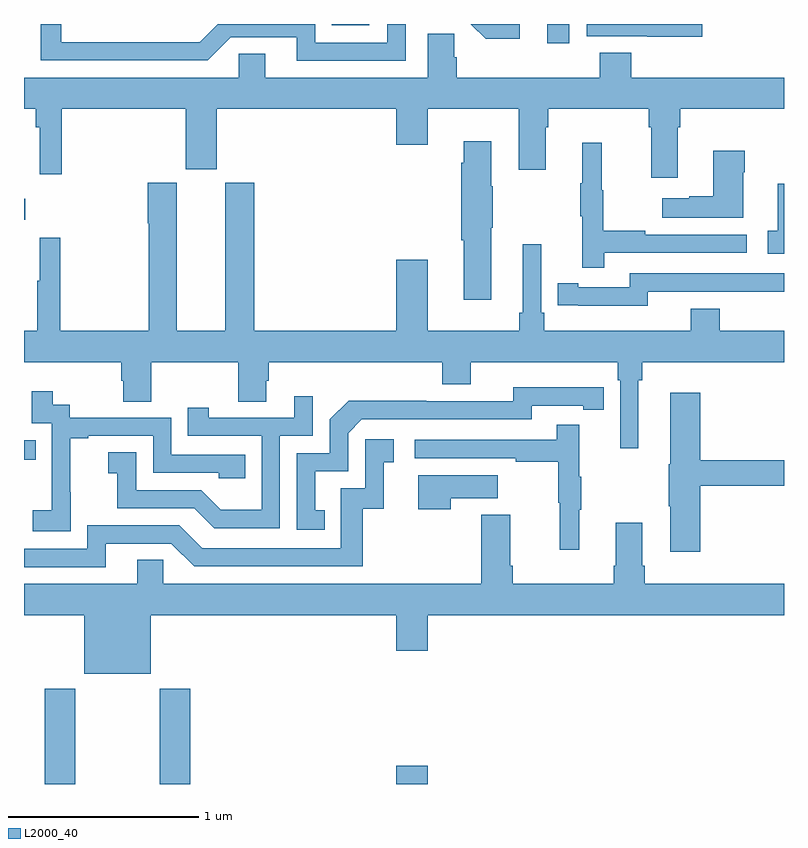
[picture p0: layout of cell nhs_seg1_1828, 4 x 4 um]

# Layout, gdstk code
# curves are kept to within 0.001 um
import gdstk
lib = gdstk.Library(unit=1e-6, precision=1e-09)
def R(c, l, rs):  # rectangles x0, y0, x1, y1
    for r in rs: c.add(gdstk.rectangle(r[:2], r[2:], *l))
def P(c, l, *ps):  # polygons
    for p in ps: c.add(gdstk.Polygon(p, *l))
L2000_40 = (2000, 40)

nhs_seg1_1828 = lib.new_cell('nhs_seg1_1828')
R(nhs_seg1_1828, L2000_40, [(211.109,528.199,211.269,528.7), (211.714,528.199,211.874,528.7), (212.96,528.199,213.124,528.295), (211,529.906,211.061,530.007), (211,531.168,211.007,531.28), (213.755,532.098,213.87,532.199), (212.62,532.193,212.818,532.199)])
P(nhs_seg1_1828, L2000_40, [(214.571,532.199),(213.963,532.199),(213.963,532.134),(214.279,532.134),(214.279,532.133),(214.571,532.133)],
  [(213.009,532.199),(212.913,532.199),(212.913,532.101),(212.532,532.101),(212.532,532.199),(212.021,532.199),(211.926,532.104),(211.197,532.104),(211.197,532.199),(211.089,532.199),(211.089,532.008),(211.968,532.008),(212.088,532.128),(212.435,532.128),(212.435,532.005),(213.009,532.005)],
  [(213.61,532.199),(213.352,532.199),(213.431,532.121),(213.61,532.121)],
  [(212.269,532.043),(212.13,532.043),(212.13,531.916),(211,531.916),(211,531.752),(211.063,531.752),(211.063,531.656),(211.083,531.656),(211.083,531.408),(211.199,531.408),(211.199,531.752),(211.85,531.752),(211.85,531.435),(212.014,531.435),(212.014,531.752),(212.96,531.752),(212.96,531.564),(213.124,531.564),(213.124,531.752),(213.605,531.752),(213.605,531.432),(213.745,531.432),(213.745,531.656),(213.758,531.656),(213.758,531.752),(214.289,531.752),(214.289,531.656),(214.301,531.656),(214.301,531.39),(214.441,531.39),(214.441,531.656),(214.454,531.656),(214.454,531.752),(215,531.752),(215,531.916),(214.196,531.916),(214.196,532.049),(214.031,532.049),(214.031,531.916),(213.278,531.916),(213.278,532.025),(213.264,532.025),(213.264,532.148),(213.125,532.148),(213.125,531.916),(212.269,531.916)],
  [(213.46,531.127),(213.468,531.127),(213.468,531.344),(213.46,531.344),(213.46,531.583),(213.314,531.583),(213.314,531.47),(213.302,531.47),(213.302,531.06),(213.314,531.06),(213.314,530.748),(213.46,530.748)],
  [(214.055,530.994),(214.804,530.994),(214.804,531.09),(214.271,531.09),(214.271,531.11),(214.048,531.11),(214.048,531.324),(214.04,531.324),(214.04,531.574),(213.938,531.574),(213.938,531.361),(213.927,531.361),(213.927,531.187),(213.938,531.187),(213.938,530.916),(214.055,530.916)],
  [(214.786,531.419),(214.794,531.419),(214.794,531.532),(214.628,531.532),(214.628,531.293),(214.502,531.293),(214.502,531.283),(214.359,531.283),(214.359,531.179),(214.786,531.179)],
  [(212.213,531.363),(212.06,531.363),(212.06,530.584),(211.804,530.584),(211.804,531.363),(211.652,531.363),(211.652,531.151),(211.657,531.151),(211.657,530.584),(211.192,530.584),(211.192,531.073),(211.082,531.073),(211.082,530.849),(211.071,530.849),(211.071,530.584),(211,530.584),(211,530.42),(211.511,530.42),(211.511,530.322),(211.523,530.322),(211.523,530.212),(211.671,530.212),(211.671,530.42),(212.128,530.42),(212.128,530.212),(212.275,530.212),(212.275,530.322),(212.288,530.322),(212.288,530.42),(213.2,530.42),(213.2,530.303),(213.352,530.303),(213.352,530.42),(214.124,530.42),(214.124,530.324),(214.137,530.324),(214.137,529.965),(214.234,529.965),(214.234,530.324),(214.253,530.324),(214.253,530.42),(215,530.42),(215,530.584),(214.661,530.584),(214.661,530.701),(214.508,530.701),(214.508,530.584),(213.737,530.584),(213.737,530.68),(213.723,530.68),(213.723,531.04),(213.626,531.04),(213.626,530.68),(213.607,530.68),(213.607,530.584),(213.124,530.584),(213.124,530.959),(212.96,530.959),(212.96,530.584),(212.213,530.584)],
  [(215,531.358),(214.967,531.358),(214.967,531.111),(214.914,531.111),(214.914,530.991),(215,530.991)],
  [(214.284,530.79),(214.744,530.79),(214.744,530.789),(215,530.789),(215,530.886),(214.188,530.886),(214.188,530.814),(213.916,530.814),(213.916,530.834),(213.808,530.834),(213.808,530.718),(213.916,530.718),(213.916,530.717),(214.284,530.717)],
  [(212.582,529.641),(212.533,529.641),(212.533,529.845),(212.706,529.845),(212.706,530.046),(212.778,530.118),(213.672,530.118),(213.672,530.19),(213.944,530.19),(213.944,530.17),(214.052,530.17),(214.052,530.286),(213.576,530.287),(213.576,530.214),(213.116,530.214),(213.116,530.216),(212.708,530.216),(212.61,530.118),(212.61,529.941),(212.436,529.941),(212.436,529.536),(212.582,529.536)],
  [(211.245,529.735),(211.244,529.735),(211.244,530.019),(211.339,530.019),(211.339,530.031),(211.68,530.031),(211.68,529.836),(212.025,529.836),(212.025,529.809),(212.165,529.809),(212.165,529.932),(211.776,529.932),(211.776,530.127),(211.242,530.127),(211.242,530.196),(211.15,530.196),(211.15,530.266),(211.041,530.266),(211.041,530.097),(211.146,530.097),(211.146,529.868),(211.145,529.868),(211.145,529.639),(211.047,529.639),(211.047,529.529),(211.245,529.529)],
  [(214.559,529.768),(215,529.768),(215,529.904),(214.559,529.904),(214.559,530.257),(214.4,530.257),(214.4,529.881),(214.393,529.881),(214.393,529.66),(214.4,529.66),(214.4,529.422),(214.559,529.422)],
  [(212.346,530.031),(212.52,530.031),(212.52,530.239),(212.423,530.239),(212.423,530.127),(211.972,530.127),(211.972,530.179),(211.861,530.179),(211.861,530.031),(212.25,530.031),(212.25,529.642),(212.036,529.642),(211.932,529.746),(211.59,529.746),(211.59,529.945),(211.443,529.945),(211.443,529.835),(211.492,529.835),(211.492,529.65),(211.895,529.65),(212,529.545),(212.346,529.545)],
  [(213.923,529.643),(213.934,529.643),(213.934,529.817),(213.923,529.817),(213.923,530.089),(213.805,530.089),(213.805,530.01),(213.057,530.01),(213.057,529.914),(213.589,529.914),(213.589,529.894),(213.813,529.894),(213.813,529.68),(213.82,529.68),(213.82,529.431),(213.923,529.431)],
  [(211.429,529.464),(211.776,529.464),(211.896,529.344),(212.783,529.344),(212.783,529.647),(212.894,529.647),(212.894,529.893),(212.947,529.893),(212.947,530.014),(212.796,530.014),(212.796,529.755),(212.667,529.755),(212.667,529.44),(211.938,529.44),(211.818,529.56),(211.332,529.56),(211.332,529.437),(211,529.437),(211,529.341),(211.429,529.341)],
  [(213.245,529.703),(213.493,529.703),(213.493,529.825),(213.074,529.825),(213.074,529.644),(213.245,529.644)],
  [(211.666,529.088),(212.96,529.088),(212.96,528.9),(213.124,528.9),(213.124,529.088),(215,529.088),(215,529.252),(214.268,529.252),(214.268,529.348),(214.255,529.348),(214.255,529.573),(214.115,529.573),(214.115,529.348),(214.103,529.348),(214.103,529.252),(213.572,529.252),(213.572,529.348),(213.559,529.348),(213.559,529.615),(213.407,529.615),(213.407,529.252),(211.734,529.252),(211.734,529.379),(211.595,529.379),(211.595,529.252),(211,529.252),(211,529.088),(211.316,529.088),(211.316,528.779),(211.666,528.779)])

lib.write_gds('nhs_seg1_1828.gds')
